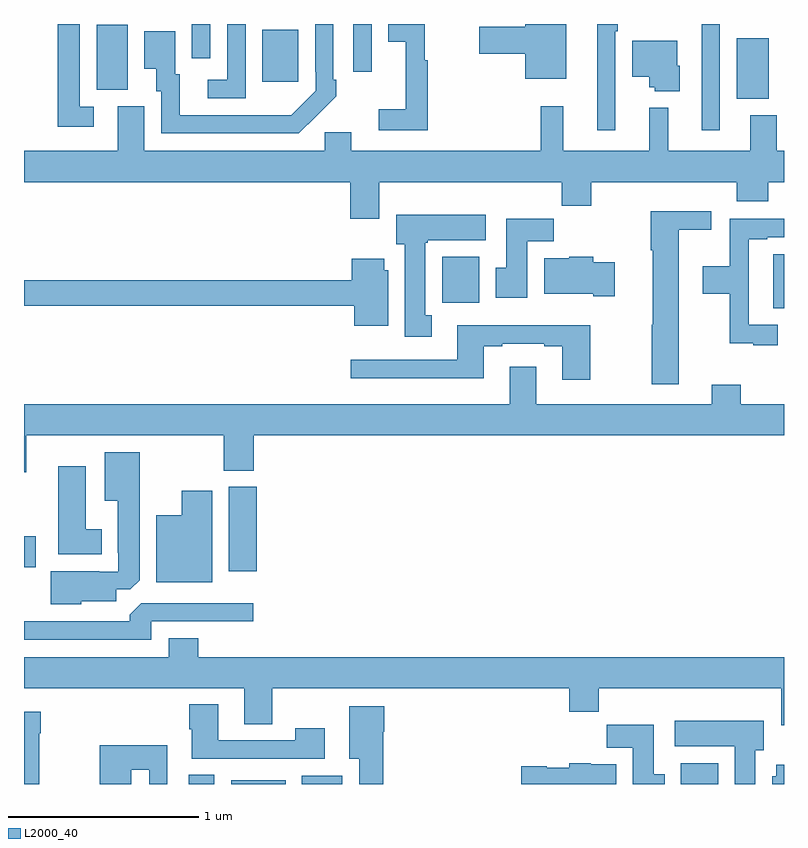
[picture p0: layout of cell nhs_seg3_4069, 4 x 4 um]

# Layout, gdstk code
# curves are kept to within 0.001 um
import gdstk
lib = gdstk.Library(unit=1e-6, precision=1e-09)
def R(c, l, rs):  # rectangles x0, y0, x1, y1
    for r in rs: c.add(gdstk.rectangle(r[:2], r[2:], *l))
def P(c, l, *ps):  # polygons
    for p in ps: c.add(gdstk.Polygon(p, *l))
L2000_40 = (2000, 40)

nhs_seg3_4069 = lib.new_cell('nhs_seg3_4069')
R(nhs_seg3_4069, L2000_40, [(325.868,712.4,326.002,712.448), (326.09,712.4,326.377,712.42), (326.462,712.4,326.674,712.444), (328.457,712.4,328.654,712.51), (326.078,713.52,326.225,713.964), (325,713.54,325.063,713.703), (328.943,714.905,329,715.189), (327.2,714.932,327.397,715.174), (328.566,715.842,328.662,716.4), (328.751,716.006,328.921,716.326), (325.382,716.053,325.546,716.396), (326.255,716.097,326.443,716.371), (326.733,716.148,326.829,716.4), (325.884,716.22,325.98,716.4)])
P(nhs_seg3_4069, L2000_40, [(325.366,715.965),(325.293,715.965),(325.293,716.4),(325.177,716.4),(325.177,715.86),(325.366,715.86)],
  [(326.537,715.915),(326.538,715.914),(326.643,716.019),(326.643,716.107),(326.628,716.107),(326.628,716.4),(326.532,716.4),(326.532,716.149),(326.535,716.149),(326.535,716.049),(326.407,715.921),(325.819,715.92),(325.819,716.136),(325.795,716.136),(325.795,716.362),(325.634,716.362),(325.634,716.165),(325.697,716.165),(325.697,716.046),(325.722,716.046),(325.722,715.824),(326.446,715.824)],
  [(327.125,716.21),(327.11,716.21),(327.11,716.4),(326.918,716.4),(326.918,716.306),(327.008,716.306),(327.008,715.951),(326.868,715.951),(326.868,715.842),(327.125,715.842)],
  [(328.113,716.363),(328.126,716.363),(328.126,716.4),(328.016,716.4),(328.016,715.842),(328.113,715.842)],
  [(327.853,716.4),(327.638,716.4),(327.638,716.386),(327.396,716.386),(327.396,716.243),(327.638,716.243),(327.638,716.111),(327.853,716.111)],
  [(326.166,716.4),(326.07,716.4),(326.07,716.106),(325.968,716.106),(325.968,716.01),(326.166,716.01)],
  [(328.45,716.181),(328.438,716.181),(328.438,716.311),(328.202,716.311),(328.202,716.123),(328.292,716.123),(328.292,716.067),(328.32,716.067),(328.32,716.045),(328.45,716.045)],
  [(326.869,715.568),(327.829,715.568),(327.829,715.444),(327.986,715.444),(327.986,715.568),(328.751,715.568),(328.751,715.466),(328.916,715.466),(328.916,715.568),(329,715.568),(329,715.732),(328.963,715.732),(328.963,715.921),(328.823,715.921),(328.823,715.732),(328.39,715.732),(328.39,715.96),(328.292,715.96),(328.292,715.732),(327.839,715.732),(327.839,715.966),(327.721,715.966),(327.721,715.732),(326.722,715.732),(326.722,715.83),(326.583,715.83),(326.583,715.732),(325.633,715.732),(325.633,715.968),(325.493,715.968),(325.493,715.732),(325,715.732),(325,715.568),(326.717,715.568),(326.717,715.374),(326.869,715.374)],
  [(328.447,715.316),(328.618,715.316),(328.618,715.414),(328.298,715.414),(328.298,715.21),(328.31,715.21),(328.31,714.816),(328.303,714.816),(328.303,714.504),(328.447,714.504)],
  [(327.145,714.866),(327.112,714.866),(327.112,715.249),(327.126,715.249),(327.126,715.262),(327.43,715.262),(327.43,715.396),(326.96,715.396),(326.96,715.242),(327.005,715.242),(327.005,714.753),(327.145,714.753)],
  [(328.966,714.816),(328.815,714.816),(328.815,715.266),(328.912,715.266),(328.912,715.278),(329,715.278),(329,715.376),(328.999,715.376),(328.999,715.374),(328.714,715.374),(328.714,715.126),(328.572,715.126),(328.572,714.979),(328.714,714.979),(328.714,714.719),(328.838,714.719),(328.838,714.708),(328.966,714.708)],
  [(327.649,715.256),(327.788,715.256),(327.788,715.375),(327.539,715.375),(327.539,715.116),(327.482,715.116),(327.482,714.96),(327.649,714.96)],
  [(328.108,715.146),(327.996,715.146),(327.996,715.174),(327.87,715.174),(327.87,715.168),(327.737,715.168),(327.737,714.98),(327.995,714.98),(327.995,714.968),(328.108,714.968)],
  [(326.917,715.104),(326.896,715.104),(326.896,715.165),(326.726,715.165),(326.726,715.052),(325,715.052),(325,714.916),(326.738,714.916),(326.738,714.812),(326.917,714.812)],
  [(327.981,714.814),(327.281,714.814),(327.281,714.633),(326.721,714.633),(326.721,714.536),(327.421,714.536),(327.421,714.705),(327.517,714.705),(327.517,714.717),(327.737,714.717),(327.737,714.705),(327.833,714.705),(327.833,714.528),(327.981,714.528)],
  [(325.012,714.236),(326.05,714.236),(326.05,714.049),(326.21,714.049),(326.21,714.236),(329,714.236),(329,714.4),(328.772,714.4),(328.772,714.502),(328.619,714.502),(328.619,714.4),(327.697,714.4),(327.697,714.595),(327.557,714.595),(327.557,714.4),(325,714.4),(325,714.042),(325.012,714.042)],
  [(325.302,713.363),(325.486,713.363),(325.486,713.424),(325.56,713.424),(325.609,713.473),(325.609,714.145),(325.424,714.145),(325.424,713.891),(325.493,713.891),(325.493,713.617),(325.497,713.617),(325.497,713.517),(325.397,713.517),(325.397,713.521),(325.142,713.521),(325.142,713.345),(325.302,713.345)],
  [(325.408,713.74),(325.324,713.74),(325.324,714.073),(325.181,714.073),(325.181,713.609),(325.408,713.609)],
  [(325.99,713.944),(325.829,713.944),(325.829,713.815),(325.697,713.815),(325.697,713.462),(325.99,713.462)],
  [(325.671,713.256),(326.206,713.256),(326.206,713.352),(325.617,713.352),(325.556,713.29),(325.556,713.256),(325,713.256),(325,713.16),(325.671,713.16)],
  [(329,713.068),(325.916,713.068),(325.916,713.167),(325.763,713.167),(325.763,713.068),(325,713.068),(325,712.904),(326.159,712.904),(326.159,712.714),(326.307,712.714),(326.307,712.904),(327.869,712.904),(327.869,712.78),(328.025,712.78),(328.025,712.904),(328.985,712.904),(328.985,712.71),(329,712.71)],
  [(326.584,712.693),(326.428,712.693),(326.428,712.629),(326.023,712.629),(326.023,712.819),(325.871,712.819),(325.871,712.687),(325.883,712.687),(325.883,712.533),(326.584,712.533)],
  [(326.891,712.674),(326.896,712.674),(326.896,712.81),(326.711,712.81),(326.711,712.532),(326.765,712.532),(326.765,712.4),(326.891,712.4)],
  [(325.081,712.667),(325.088,712.667),(325.088,712.78),(325,712.78),(325,712.4),(325.081,712.4)],
  [(328.849,712.578),(328.894,712.578),(328.894,712.732),(328.425,712.732),(328.425,712.598),(328.742,712.598),(328.742,712.4),(328.849,712.4)],
  [(328.372,712.452),(328.315,712.452),(328.315,712.711),(328.066,712.711),(328.066,712.592),(328.205,712.592),(328.205,712.4),(328.372,712.4)],
  [(325.564,712.474),(325.659,712.474),(325.659,712.4),(325.755,712.4),(325.755,712.603),(325.399,712.603),(325.399,712.4),(325.564,712.4)],
  [(328.117,712.504),(327.984,712.504),(327.984,712.51),(327.87,712.51),(327.87,712.486),(327.75,712.486),(327.75,712.494),(327.618,712.494),(327.618,712.4),(328.117,712.4)],
  [(329,712.501),(328.958,712.501),(328.958,712.44),(328.937,712.44),(328.937,712.4),(329,712.4)])

lib.write_gds('nhs_seg3_4069.gds')
